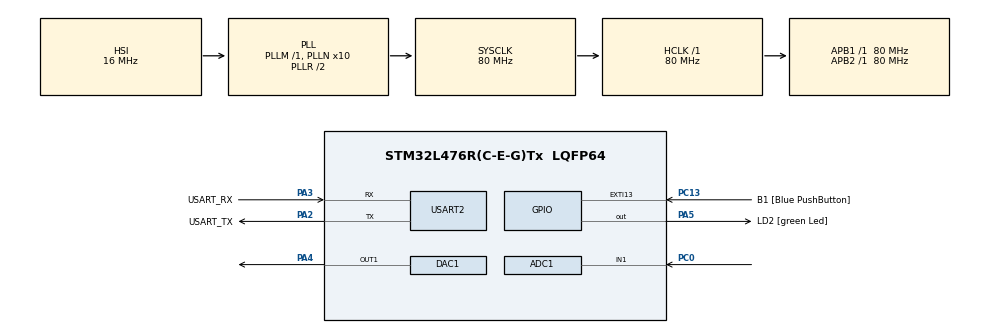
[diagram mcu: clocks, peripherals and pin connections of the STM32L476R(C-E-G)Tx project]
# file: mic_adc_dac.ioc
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ADC1.Channel-0\#ChannelRegularConversion=ADC_CHANNEL_1
ADC1.ClockPrescaler=ADC_CLOCK_SYNC_PCLK_DIV1
ADC1.ContinuousConvMode=ENABLE
ADC1.DMAContinuousRequests=ENABLE
ADC1.DataAlign=ADC_DATAALIGN_RIGHT
ADC1.DiscontinuousConvMode=DISABLE
ADC1.EOCSelection=ADC_EOC_SINGLE_CONV
ADC1.EnableAnalogWatchDog1=false
ADC1.EnableAnalogWatchDog2=false
ADC1.EnableAnalogWatchDog3=false
ADC1.EnableInjectedConversion=DISABLE
ADC1.EnableRegularConversion=ENABLE
ADC1.ExternalTrigConv=ADC_SOFTWARE_START
ADC1.ExternalTrigConvEdge=ADC_EXTERNALTRIGCONVEDGE_NONE
ADC1.LowPowerAutoWait=DISABLE
ADC1.NbrOfConversion=1
ADC1.NbrOfConversionFlag=1
ADC1.OffsetNumber-0\#ChannelRegularConversion=ADC_OFFSET_NONE
ADC1.Overrun=ADC_OVR_DATA_OVERWRITTEN
ADC1.OversamplingMode=ENABLE
ADC1.OversamplingStopReset=ADC_REGOVERSAMPLING_CONTINUED_MODE
ADC1.Rank-0\#ChannelRegularConversion=1
ADC1.Ratio=ADC_OVERSAMPLING_RATIO_32
ADC1.Resolution=ADC_RESOLUTION_12B
ADC1.RightBitShift=ADC_RIGHTBITSHIFT_5
ADC1.SamplingTime-0\#ChannelRegularConversion=ADC_SAMPLETIME_47CYCLES_5
ADC1.ScanConvMode=ADC_SCAN_DISABLE
ADC1.TriggeredMode=ADC_TRIGGEREDMODE_SINGLE_TRIGGER
ADC1.master=1
DAC1.DAC_Trigger-DAC_OUT1=DAC_TRIGGER_T6_TRGO
Dma.ADC1.0.Direction=DMA_PERIPH_TO_MEMORY
Dma.ADC1.0.Instance=DMA1_Channel1
Dma.ADC1.0.MemDataAlignment=DMA_MDATAALIGN_HALFWORD
Dma.ADC1.0.MemInc=DMA_MINC_ENABLE
Dma.ADC1.0.Mode=DMA_CIRCULAR
Dma.ADC1.0.PeriphDataAlignment=DMA_PDATAALIGN_HALFWORD
Dma.ADC1.0.PeriphInc=DMA_PINC_DISABLE
Dma.ADC1.0.Priority=DMA_PRIORITY_HIGH
Dma.DAC_CH1.1.Direction=DMA_MEMORY_TO_PERIPH
Dma.DAC_CH1.1.Instance=DMA1_Channel3
Dma.DAC_CH1.1.MemDataAlignment=DMA_MDATAALIGN_HALFWORD
Dma.DAC_CH1.1.MemInc=DMA_MINC_ENABLE
Dma.DAC_CH1.1.Mode=DMA_CIRCULAR
Dma.DAC_CH1.1.PeriphDataAlignment=DMA_PDATAALIGN_HALFWORD
Dma.DAC_CH1.1.PeriphInc=DMA_PINC_DISABLE
Dma.DAC_CH1.1.Priority=DMA_PRIORITY_LOW
Dma.Request0=ADC1
Dma.Request1=DAC_CH1
Mcu.Family=STM32L4
Mcu.Name=STM32L476R(C-E-G)Tx
Mcu.Package=LQFP64
NVIC.DMA1_Channel1_IRQn=true\:0\:0\:false\:false\:true\:false
NVIC.DMA1_Channel3_IRQn=true\:0\:0\:false\:false\:true\:false
NVIC.PriorityGroup=NVIC_PRIORITYGROUP_4
PA13\ (JTMS-SWDIO).GPIO_Label=TMS
PA13\ (JTMS-SWDIO).Mode=Serial_Wire
PA13\ (JTMS-SWDIO).Signal=SYS_JTMS-SWDIO
PA14\ (JTCK-SWCLK).GPIO_Label=TCK
PA14\ (JTCK-SWCLK).Mode=Serial_Wire
PA14\ (JTCK-SWCLK).Signal=SYS_JTCK-SWCLK
PA2.GPIO_Label=USART_TX
PA2.GPIO_Mode=GPIO_MODE_AF_PP
PA2.GPIO_PuPd=GPIO_NOPULL
PA2.GPIO_Speed=GPIO_SPEED_FREQ_VERY_HIGH
PA2.Mode=Asynchronous
PA2.Signal=USART2_TX
PA3.GPIO_Label=USART_RX
PA3.GPIO_Mode=GPIO_MODE_AF_PP
PA3.GPIO_PuPd=GPIO_NOPULL
PA3.GPIO_Speed=GPIO_SPEED_FREQ_VERY_HIGH
PA3.Mode=Asynchronous
PA3.Signal=USART2_RX
PA4.Signal=COMP_DAC11_group
PA5.GPIO_Label=LD2 [green Led]
PA5.GPIO_ModeDefaultOutputPP=GPIO_MODE_OUTPUT_PP
PA5.GPIO_PuPd=GPIO_NOPULL
PA5.GPIO_Speed=GPIO_SPEED_FREQ_LOW
PA5.Signal=GPIO_Output
PB3\ (JTDO-TRACESWO).GPIO_Label=SWO
PB3\ (JTDO-TRACESWO).Signal=SYS_JTDO-SWO
PC0.GPIO_PuPd=GPIO_NOPULL
PC0.Signal=ADCx_IN1
PC13.GPIO_Label=B1 [Blue PushButton]
PC13.GPIO_ModeDefaultEXTI=GPIO_MODE_IT_FALLING
PC13.GPIO_PuPd=GPIO_NOPULL
PC13.Signal=GPXTI13
PC14-OSC32_IN\ (PC14).Mode=LSE-External-Oscillator
PC14-OSC32_IN\ (PC14).Signal=RCC_OSC32_IN
PC15-OSC32_OUT\ (PC15).Mode=LSE-External-Oscillator
PC15-OSC32_OUT\ (PC15).Signal=RCC_OSC32_OUT
PH0-OSC_IN\ (PH0).Signal=RCC_OSC_IN
PH1-OSC_OUT\ (PH1).Signal=RCC_OSC_OUT
ProjectManager.HeapSize=0x200
ProjectManager.StackSize=0x400
ProjectManager.TargetToolchain=TrueSTUDIO
RCC.ADCFreq_Value=64000000
RCC.AHBFreq_Value=80000000
RCC.APB1Freq_Value=80000000
RCC.APB1TimFreq_Value=80000000
RCC.APB2Freq_Value=80000000
RCC.APB2TimFreq_Value=80000000
RCC.CortexFreq_Value=80000000
RCC.HCLKFreq_Value=80000000
RCC.HSE_VALUE=8000000
RCC.HSI_VALUE=16000000
RCC.MSI_VALUE=4000000
RCC.PLLN=10
RCC.PLLSourceVirtual=RCC_PLLSOURCE_HSI
RCC.PREFETCH_ENABLE=1
RCC.SYSCLKFreq_VALUE=80000000
RCC.SYSCLKSource=RCC_SYSCLKSOURCE_PLLCLK
RCC.USBFreq_Value=64000000
RCC.VCOOutputFreq_Value=160000000
SH.ADCx_IN1.0=ADC1_IN1,IN1-Single-Ended
SH.COMP_DAC11_group.0=DAC1_OUT1,DAC_OUT1
TIM6.AutoReloadPreload=TIM_AUTORELOAD_PRELOAD_ENABLE
TIM6.Period=1919
TIM6.TIM_MasterOutputTrigger=TIM_TRGO_UPDATE
USART2.VirtualMode-Asynchronous=VM_ASYNC
VP_TIM6_VS_ClockSourceINT.Mode=Enable_Timer
board=NUCLEO-L476RG

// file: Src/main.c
/**
  ******************************************************************************
  * @file           : main.c
  * @brief          : Main program body
  ******************************************************************************
  ** This notice applies to any and all portions of this file
  * that are not between comment pairs USER CODE BEGIN and
  * USER CODE END. Other portions of this file, whether
  * inserted by the user or by software development tools
  * are owned by their respective copyright owners.
  *
  * COPYRIGHT(c) 2018 STMicroelectronics
  *
  * Redistribution and use in source and binary forms, with or without modification,
  * are permitted provided that the following conditions are met:
  *   1. Redistributions of source code must retain the above copyright notice,
  *      this list of conditions and the following disclaimer.
  *   2. Redistributions in binary form must reproduce the above copyright notice,
  *      this list of conditions and the following disclaimer in the documentation
  *      and/or other materials provided with the distribution.
  *   3. Neither the name of STMicroelectronics nor the names of its contributors
  *      may be used to endorse or promote products derived from this software
  *      without specific prior written permission.
  *
  * THIS SOFTWARE IS PROVIDED BY THE COPYRIGHT HOLDERS AND CONTRIBUTORS "AS IS"
  * AND ANY EXPRESS OR IMPLIED WARRANTIES, INCLUDING, BUT NOT LIMITED TO, THE
  * IMPLIED WARRANTIES OF MERCHANTABILITY AND FITNESS FOR A PARTICULAR PURPOSE ARE
  * DISCLAIMED. IN NO EVENT SHALL THE COPYRIGHT HOLDER OR CONTRIBUTORS BE LIABLE
  * FOR ANY DIRECT, INDIRECT, INCIDENTAL, SPECIAL, EXEMPLARY, OR CONSEQUENTIAL
  * DAMAGES (INCLUDING, BUT NOT LIMITED TO, PROCUREMENT OF SUBSTITUTE GOODS OR
  * SERVICES; LOSS OF USE, DATA, OR PROFITS; OR BUSINESS INTERRUPTION) HOWEVER
  * CAUSED AND ON ANY THEORY OF LIABILITY, WHETHER IN CONTRACT, STRICT LIABILITY,
  * OR TORT (INCLUDING NEGLIGENCE OR OTHERWISE) ARISING IN ANY WAY OUT OF THE USE
  * OF THIS SOFTWARE, EVEN IF ADVISED OF THE POSSIBILITY OF SUCH DAMAGE.
  *
  ******************************************************************************
  */
#include "main.h"
#include "stm32l4xx_hal.h"
#include "adc.h"
#include "dac.h"
#include "dma.h"
#include "tim.h"
#include "usart.h"
#include "gpio.h"

/* USER CODE BEGIN Includes */
#include "stdio.h"
#include "stdbool.h"
#include "arm_math.h"

/* USER CODE END Includes */

/* USER CODE BEGIN PV */
/* Private variables ---------------------------------------------------------*/
volatile uint16_t input_buf[1024*2] = { 0 };
volatile bool adc1_in1_a = false;
volatile bool adc1_in1_b = false;

volatile uint16_t dac1_out1_buf[1024*2] = { 0 };

/* USER CODE END PV */

void SystemClock_Config(void);

/* USER CODE BEGIN PFP */
/* Private function prototypes -----------------------------------------------*/

/* USER CODE END PFP */

int main(void)
{

  /* MCU Configuration----------------------------------------------------------*/

  /* Reset of all peripherals, Initializes the Flash interface and the Systick. */
  HAL_Init();

  /* Configure the system clock */
  SystemClock_Config();

  /* Initialize all configured peripherals */
  MX_GPIO_Init();
  MX_DMA_Init();
  MX_USART2_UART_Init();
  MX_ADC1_Init();
  MX_TIM6_Init();
  MX_DAC1_Init();
  /* USER CODE BEGIN 2 */

  // Start timer 6 and DAC for DMA
  HAL_TIM_Base_Start(&htim6);
  HAL_DAC_Start(&hdac1, DAC_CHANNEL_1);
  HAL_DAC_Start_DMA(&hdac1, DAC_CHANNEL_1, (uint32_t*)dac1_out1_buf, 1024*2,
       DAC_ALIGN_12B_R);

  HAL_Delay(1);

  if (HAL_ADC_Start_DMA(&hadc1, (uint32_t *)input_buf, 1024*2) != HAL_OK) {
    Error_Handler();
  }
  /* USER CODE END 2 */

  /* Infinite loop */
  /* USER CODE BEGIN WHILE */
  while (1)
  {
    if (adc1_in1_a) {
      if (input_buf[0] >= (4095-128) || input_buf[0] <128) {
        printf("-\n");
        printf("%u @ %lu\n", input_buf[0], HAL_GetTick());
      }
      for (uint32_t n = 0; n < 1024; n++) {
        dac1_out1_buf[n] = input_buf[n];
      }
      adc1_in1_a = false;
    } else if (adc1_in1_b) {
      for (uint32_t n = 1024; n < 1024*2; n++) {
        dac1_out1_buf[n] = input_buf[n];
      }
      adc1_in1_b = false;
    }

  /* USER CODE END WHILE */

  }

}

void SystemClock_Config(void)
{

  RCC_OscInitTypeDef RCC_OscInitStruct;
  RCC_ClkInitTypeDef RCC_ClkInitStruct;
  RCC_PeriphCLKInitTypeDef PeriphClkInit;

    /**Initializes the CPU, AHB and APB busses clocks
    */
  RCC_OscInitStruct.OscillatorType = RCC_OSCILLATORTYPE_HSI;
  RCC_OscInitStruct.HSIState = RCC_HSI_ON;
  RCC_OscInitStruct.HSICalibrationValue = 16;
  RCC_OscInitStruct.PLL.PLLState = RCC_PLL_ON;
  RCC_OscInitStruct.PLL.PLLSource = RCC_PLLSOURCE_HSI;
  RCC_OscInitStruct.PLL.PLLM = 1;
  RCC_OscInitStruct.PLL.PLLN = 10;
  RCC_OscInitStruct.PLL.PLLP = RCC_PLLP_DIV7;
  RCC_OscInitStruct.PLL.PLLQ = RCC_PLLQ_DIV2;
  RCC_OscInitStruct.PLL.PLLR = RCC_PLLR_DIV2;
  if (HAL_RCC_OscConfig(&RCC_OscInitStruct) != HAL_OK)
  {
    _Error_Handler(__FILE__, __LINE__);
  }

    /**Initializes the CPU, AHB and APB busses clocks
    */
  RCC_ClkInitStruct.ClockType = RCC_CLOCKTYPE_HCLK|RCC_CLOCKTYPE_SYSCLK
                              |RCC_CLOCKTYPE_PCLK1|RCC_CLOCKTYPE_PCLK2;
  RCC_ClkInitStruct.SYSCLKSource = RCC_SYSCLKSOURCE_PLLCLK;
  RCC_ClkInitStruct.AHBCLKDivider = RCC_SYSCLK_DIV1;
  RCC_ClkInitStruct.APB1CLKDivider = RCC_HCLK_DIV1;
  RCC_ClkInitStruct.APB2CLKDivider = RCC_HCLK_DIV1;

  if (HAL_RCC_ClockConfig(&RCC_ClkInitStruct, FLASH_LATENCY_4) != HAL_OK)
  {
    _Error_Handler(__FILE__, __LINE__);
  }

  PeriphClkInit.PeriphClockSelection = RCC_PERIPHCLK_USART2;
  PeriphClkInit.Usart2ClockSelection = RCC_USART2CLKSOURCE_PCLK1;
  if (HAL_RCCEx_PeriphCLKConfig(&PeriphClkInit) != HAL_OK)
  {
    _Error_Handler(__FILE__, __LINE__);
  }

    /**Configure the main internal regulator output voltage
    */
  if (HAL_PWREx_ControlVoltageScaling(PWR_REGULATOR_VOLTAGE_SCALE1) != HAL_OK)
  {
    _Error_Handler(__FILE__, __LINE__);
  }

    /**Configure the Systick interrupt time
    */
  HAL_SYSTICK_Config(HAL_RCC_GetHCLKFreq()/1000);

    /**Configure the Systick
    */
  HAL_SYSTICK_CLKSourceConfig(SYSTICK_CLKSOURCE_HCLK);

  /* SysTick_IRQn interrupt configuration */
  HAL_NVIC_SetPriority(SysTick_IRQn, 0, 0);
}

/* USER CODE BEGIN 4 */
/**
 * @brief  Retargets the C library printf function to the USART.
 * @param  None
 * @retval None
 */
int _write(int file, char *ptr, int len) {
  HAL_UART_Transmit(&huart2, (uint8_t *) ptr, (uint16_t) len, 0xFFFFFFFF);
  return len;
}

/**
  * @brief  Conversion DMA half-transfer callback in non-blocking mode.
  * @param hadc ADC handle
  * @retval None
  */
void HAL_ADC_ConvHalfCpltCallback(ADC_HandleTypeDef* hadc) {
  if (hadc == &hadc1) {
    adc1_in1_a = true;
  }
}

/**
  * @brief  Conversion complete callback in non-blocking mode.
  * @param hadc ADC handle
  * @retval None
  */
void HAL_ADC_ConvCpltCallback(ADC_HandleTypeDef* hadc) {
  if (hadc == &hadc1) {
    adc1_in1_b = true;
  }
}

/* USER CODE END 4 */

void _Error_Handler(char *file, int line)
{
  while(1)
  {
  }
}

/************************ (C) COPYRIGHT STMicroelectronics *****END OF FILE****/
